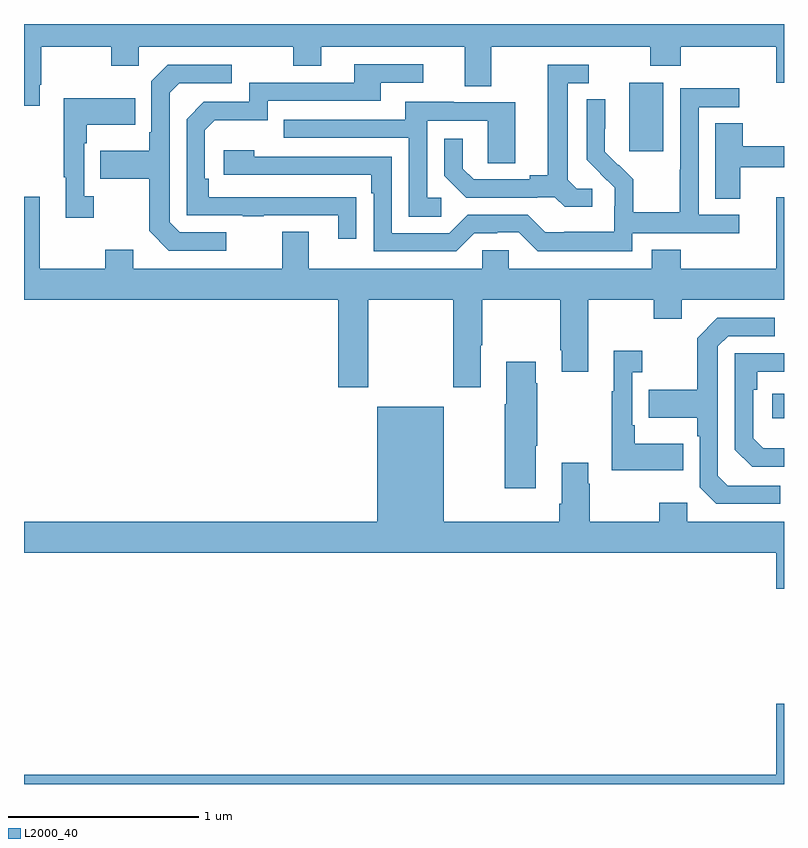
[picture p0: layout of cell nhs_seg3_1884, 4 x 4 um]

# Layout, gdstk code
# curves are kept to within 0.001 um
import gdstk
lib = gdstk.Library(unit=1e-6, precision=1e-09)
def R(c, l, rs):  # rectangles x0, y0, x1, y1
    for r in rs: c.add(gdstk.rectangle(r[:2], r[2:], *l))
def P(c, l, *ps):  # polygons
    for p in ps: c.add(gdstk.Polygon(p, *l))
L2000_40 = (2000, 40)

nhs_seg3_1884 = lib.new_cell('nhs_seg3_1884')
R(nhs_seg3_1884, L2000_40, [(212.937,668.324,213,668.454), (212.186,669.729,212.365,670.09)])
P(nhs_seg3_1884, L2000_40, [(209.083,670.081),(209.091,670.081),(209.091,670.28),(209.458,670.28),(209.458,670.181),(209.604,670.181),(209.604,670.28),(210.418,670.28),(210.418,670.181),(210.565,670.181),(210.565,670.28),(211.319,670.28),(211.319,670.072),(211.459,670.072),(211.459,670.28),(212.296,670.28),(212.296,670.181),(212.456,670.181),(212.456,670.28),(212.96,670.28),(212.96,670.092),(213,670.092),(213,670.4),(209,670.4),(209,669.969),(209.083,669.969)],
  [(210.749,669.488),(209.972,669.489),(209.972,669.586),(209.952,669.586),(209.952,669.84),(210.005,669.893),(210.282,669.893),(210.282,669.996),(210.877,669.996),(210.877,670.092),(211.102,670.092),(211.102,670.188),(210.737,670.188),(210.737,670.092),(210.186,670.092),(210.186,669.99),(209.946,669.99),(209.856,669.9),(209.856,669.393),(210.151,669.393),(210.151,669.388),(210.263,669.388),(210.263,669.393),(210.653,669.393),(210.653,669.27),(210.749,669.27)],
  [(211.99,669.534),(211.908,669.534),(211.861,669.581),(211.861,670.089),(211.972,670.089),(211.972,670.185),(211.757,670.185),(211.757,669.605),(211.661,669.605),(211.661,669.582),(211.366,669.582),(211.309,669.639),(211.309,669.796),(211.212,669.796),(211.212,669.602),(211.328,669.486),(211.7,669.486),(211.7,669.489),(211.794,669.489),(211.846,669.437),(211.99,669.437)],
  [(210.064,669.303),(209.82,669.303),(209.766,669.357),(209.766,670.038),(209.817,670.089),(210.094,670.089),(210.094,670.185),(209.757,670.185),(209.67,670.098),(209.67,669.829),(209.658,669.829),(209.658,669.733),(209.401,669.733),(209.401,669.586),(209.658,669.586),(209.658,669.313),(209.763,669.207),(210.064,669.207)],
  [(212.202,669.3),(212.764,669.3),(212.764,669.396),(212.55,669.396),(212.55,669.963),(212.764,669.963),(212.764,670.062),(212.454,670.062),(212.454,669.632),(212.452,669.632),(212.452,669.409),(212.207,669.409),(212.207,669.583),(212.13,669.66),(212.127,669.657),(212.057,669.728),(212.058,670.004),(211.962,670.004),(211.962,669.686),(212.108,669.538),(212.108,669.441),(212.106,669.441),(212.106,669.307),(211.843,669.307),(211.843,669.303),(211.743,669.303),(211.65,669.396),(211.335,669.396),(211.239,669.3),(210.936,669.3),(210.936,669.702),(210.212,669.702),(210.212,669.736),(210.051,669.736),(210.051,669.606),(210.827,669.606),(210.827,669.509),(210.84,669.509),(210.84,669.204),(211.275,669.204),(211.371,669.3),(211.49,669.3),(211.49,669.303),(211.605,669.303),(211.705,669.203),(212.202,669.203)],
  [(209.368,669.494),(209.316,669.494),(209.316,669.773),(209.329,669.773),(209.329,669.869),(209.585,669.869),(209.585,670.009),(209.208,670.009),(209.208,669.593),(209.219,669.593),(209.219,669.381),(209.368,669.381)],
  [(211.195,669.486),(211.122,669.486),(211.122,669.891),(211.44,669.891),(211.44,669.667),(211.585,669.667),(211.585,669.987),(211.261,669.987),(211.261,669.991),(211.007,669.991),(211.007,669.897),(210.367,669.897),(210.367,669.801),(211.026,669.801),(211.026,669.385),(211.195,669.385)],
  [(212.77,669.647),(213,669.647),(213,669.757),(212.783,669.757),(212.783,669.878),(212.639,669.878),(212.639,669.481),(212.77,669.481)],
  [(210.813,668.948),(211.258,668.948),(211.258,668.487),(211.405,668.487),(211.405,668.71),(211.413,668.71),(211.413,668.948),(211.822,668.948),(211.822,668.683),(211.829,668.683),(211.829,668.571),(211.969,668.571),(211.969,668.948),(212.314,668.948),(212.314,668.849),(212.461,668.849),(212.461,668.948),(213,668.948),(213,669.487),(212.96,669.487),(212.96,669.112),(212.456,669.112),(212.456,669.211),(212.303,669.211),(212.303,669.112),(211.551,669.112),(211.551,669.21),(211.413,669.21),(211.413,669.112),(210.499,669.112),(210.499,669.307),(210.359,669.307),(210.359,669.112),(209.575,669.112),(209.575,669.211),(209.428,669.211),(209.428,669.112),(209.083,669.112),(209.083,669.49),(209,669.49),(209,668.948),(210.653,668.948),(210.653,668.487),(210.813,668.487)],
  [(212.98,667.971),(212.703,667.971),(212.652,668.022),(212.652,668.703),(212.706,668.757),(212.95,668.757),(212.95,668.853),(212.649,668.853),(212.544,668.747),(212.544,668.475),(212.287,668.475),(212.287,668.327),(212.544,668.327),(212.544,668.231),(212.556,668.231),(212.556,667.962),(212.643,667.875),(212.98,667.875)],
  [(212.471,668.191),(212.215,668.191),(212.215,668.287),(212.202,668.287),(212.202,668.567),(212.254,668.567),(212.254,668.68),(212.105,668.68),(212.105,668.467),(212.094,668.467),(212.094,668.051),(212.471,668.051)],
  [(213,668.167),(212.891,668.167),(212.838,668.22),(212.838,668.474),(212.858,668.474),(212.858,668.571),(213,668.571),(213,668.667),(212.742,668.667),(212.742,668.16),(212.832,668.07),(213,668.07)],
  [(211.693,668.179),(211.701,668.179),(211.701,668.51),(211.693,668.51),(211.693,668.623),(211.538,668.623),(211.538,668.399),(211.531,668.399),(211.531,667.956),(211.693,667.956)],
  [(213,667.78),(212.49,667.78),(212.49,667.879),(212.344,667.879),(212.344,667.78),(211.977,667.78),(211.977,667.979),(211.969,667.979),(211.969,668.092),(211.829,668.092),(211.829,667.876),(211.817,667.876),(211.817,667.78),(211.21,667.78),(211.21,668.386),(210.86,668.386),(210.86,667.78),(209,667.78),(209,667.616),(212.96,667.616),(212.96,667.428),(213,667.428)],
  [(213,666.823),(212.96,666.823),(212.96,666.448),(209,666.448),(209,666.4),(213,666.4)])

lib.write_gds('nhs_seg3_1884.gds')
